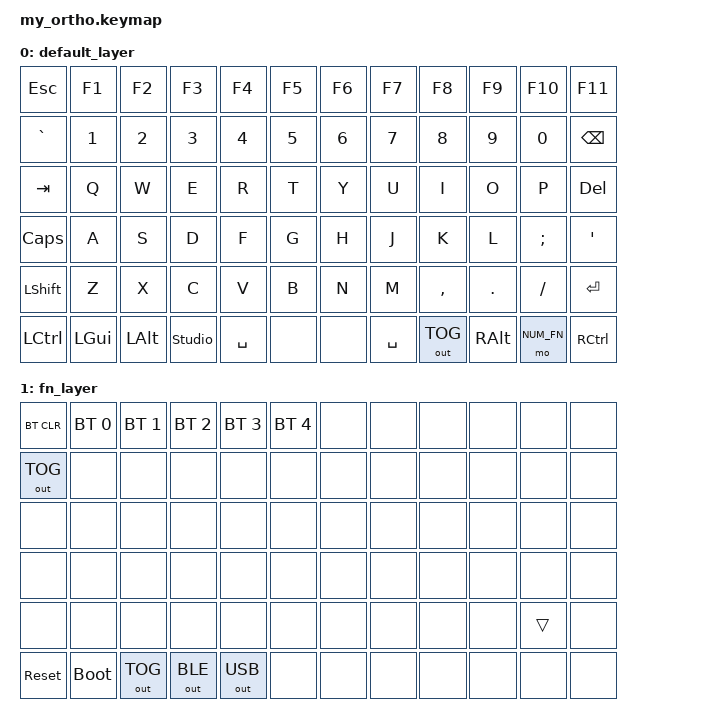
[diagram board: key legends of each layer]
// layout-id: my_ortho

#include <behaviors.dtsi>
#include <dt-bindings/zmk/keys.h>
#include <dt-bindings/zmk/outputs.h>
#include <dt-bindings/zmk/bt.h>

#define DEFAULT 0
#define NUM_FN  1

/ {
    chosen {
        zmk,preferred-output = <2>; // 2 = Bluetooth принудительно
    };
};

/ {
    keymap {
        compatible = "zmk,keymap";

        default_layer {
            bindings = <
&kp ESC    &kp F1    &kp F2    &kp F3    &kp F4         &kp F5    &kp F6    &kp F7    &kp F8       &kp F9    &kp F10    &kp F11
&kp GRAVE  &kp N1    &kp N2    &kp N3    &kp N4         &kp N5    &kp N6    &kp N7    &kp N8       &kp N9    &kp N0     &kp BSPC
&kp TAB    &kp Q     &kp W     &kp E     &kp R          &kp T     &kp Y     &kp U     &kp I        &kp O     &kp P      &kp DEL
&kp CLCK   &kp A     &kp S     &kp D     &kp F          &kp G     &kp H     &kp J     &kp K        &kp L     &kp SEMI   &kp SQT
&kp LSHFT  &kp Z     &kp X     &kp C     &kp V          &kp B     &kp N     &kp M     &kp COMMA    &kp DOT   &kp FSLH   &kp ENTER
&kp LCTRL  &kp LGUI  &kp LALT  &studio_unlock &kp SPACE &none &none  &kp SPACE &out OUT_TOG &kp RALT &mo NUM_FN &kp RCTRL
            >;
        };

        fn_layer {
            bindings = <
&bt BT_CLR   &bt BT_SEL 0 &bt BT_SEL 1 &bt BT_SEL 2 &bt BT_SEL 3 &bt BT_SEL 4 &none &none &none &none &none  &none
&out OUT_TOG &none        &none        &none        &none        &none        &none &none &none &none &none  &none
&none        &none        &none        &none        &none        &none        &none &none &none &none &none  &none
&none        &none        &none        &none        &none        &none        &none &none &none &none &none  &none
&none        &none        &none        &none        &none        &none        &none &none &none &none &trans &none
&sys_reset   &bootloader  &out OUT_TOG &out OUT_BLE &out OUT_USB &none        &none &none &none &none &none  &none
            >;
        };
    };
};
